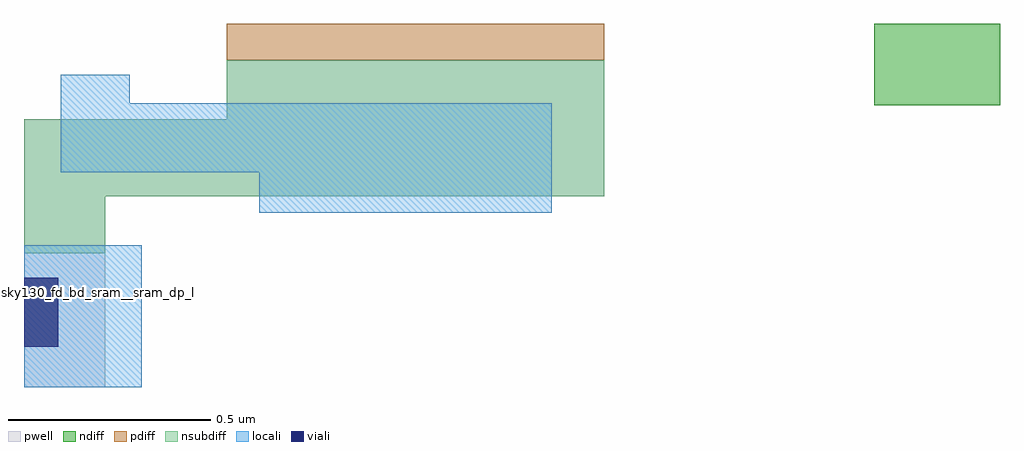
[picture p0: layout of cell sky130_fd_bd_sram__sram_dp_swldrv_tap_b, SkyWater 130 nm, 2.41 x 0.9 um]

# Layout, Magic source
magic
tech sky130A
magscale 1 2
<< pwell >>
rect 100 -47 286 -18
rect 0 -85 286 -47
rect 0 -179 40 -85
<< ndiff >>
rect 419 -40 481 0
<< pdiff >>
rect 100 -18 286 0
<< nsubdiff >>
rect 100 -47 286 -18
rect 0 -85 286 -47
rect 0 -113 40 -85
<< locali >>
rect 18 -39 52 -25
rect 18 -73 260 -39
rect 116 -93 260 -73
rect 0 -179 58 -109
use sky130_fd_bd_sram__sram_dp_mcon_05  sky130_fd_bd_sram__sram_dp_mcon_05_0
transform 0 1 0 -1 0 -142
box -17 0 17 17
use sky130_fd_bd_sram__sram_dp_licon_05  sky130_fd_bd_sram__sram_dp_licon_05_0
transform 0 1 0 -1 0 -132
box 0 0 1 1
<< properties >>
string GDS_FILE sky130_fd_bd_sram__sram_dp_swldrv_tap_b.gds
string GDS_END 1366
string GDS_START 440
<< end >>

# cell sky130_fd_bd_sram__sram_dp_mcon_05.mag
magic
tech sky130A
magscale 1 2
<< viali >>
rect -17 0 17 17
<< properties >>
string GDS_FILE sky130_fd_bd_sram__sram_dp_mcon_05.gds
string GDS_END 226
string GDS_START 158
<< end >>
